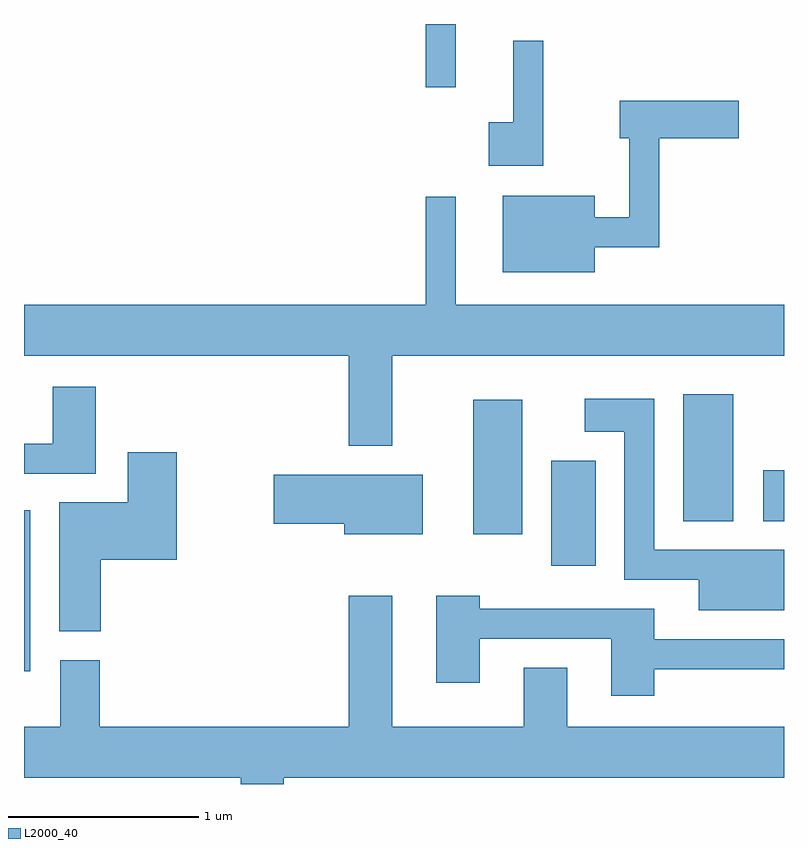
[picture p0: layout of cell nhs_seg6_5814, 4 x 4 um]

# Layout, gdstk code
import gdstk
lib = gdstk.Library(unit=1e-6, precision=1e-09)
def R(c, l, rs):  # rectangles x0, y0, x1, y1
    for r in rs: c.add(gdstk.rectangle(r[:2], r[2:], *l))
def P(c, l, *ps):  # polygons
    for p in ps: c.add(gdstk.Polygon(p, *l))
L2000_40 = (2000, 40)

nhs_seg6_5814 = lib.new_cell('nhs_seg6_5814')
R(nhs_seg6_5814, L2000_40, [(361.611,1612.756,361.644,1613.604), (364.386,1613.311,364.619,1613.864), (363.976,1613.476,364.234,1614.184), (365.081,1613.546,365.344,1614.214), (365.501,1613.546,365.611,1613.814), (363.726,1615.828,363.884,1616.162)])
P(nhs_seg6_5814, L2000_40, [(364.344,1616.073),(364.186,1616.073),(364.186,1615.644),(364.056,1615.644),(364.056,1615.416),(364.344,1615.416)],
  [(364.614,1614.986),(364.954,1614.986),(364.954,1615.561),(365.374,1615.561),(365.374,1615.759),(364.746,1615.759),(364.746,1615.561),(364.796,1615.561),(364.796,1615.144),(364.614,1615.144),(364.614,1615.259),(364.131,1615.259),(364.131,1614.856),(364.614,1614.856)],
  [(363.549,1614.416),(365.611,1614.416),(365.611,1614.684),(363.884,1614.684),(363.884,1615.253),(363.726,1615.253),(363.726,1614.684),(361.611,1614.684),(361.611,1614.416),(363.321,1614.416),(363.321,1613.941),(363.549,1613.941)],
  [(361.989,1614.254),(361.761,1614.254),(361.761,1613.954),(361.611,1613.954),(361.611,1613.796),(361.989,1613.796)],
  [(365.611,1613.394),(364.929,1613.394),(364.929,1614.189),(364.561,1614.189),(364.561,1614.016),(364.771,1614.016),(364.771,1613.236),(365.161,1613.236),(365.161,1613.076),(365.611,1613.076)],
  [(362.014,1613.341),(362.414,1613.341),(362.414,1613.909),(362.156,1613.909),(362.156,1613.644),(361.796,1613.644),(361.796,1612.966),(362.014,1612.966)],
  [(363.709,1613.789),(362.926,1613.789),(362.926,1613.531),(363.296,1613.531),(363.296,1613.476),(363.709,1613.476)],
  [(364.929,1612.766),(365.611,1612.766),(365.611,1612.924),(364.929,1612.924),(364.929,1613.084),(364.009,1613.084),(364.009,1613.154),(363.781,1613.154),(363.781,1612.696),(364.009,1612.696),(364.009,1612.926),(364.701,1612.926),(364.701,1612.626),(364.929,1612.626)],
  [(362.979,1612.196),(365.611,1612.196),(365.611,1612.464),(364.469,1612.464),(364.469,1612.774),(364.241,1612.774),(364.241,1612.464),(363.549,1612.464),(363.549,1613.154),(363.321,1613.154),(363.321,1612.464),(362.009,1612.464),(362.009,1612.814),(361.801,1612.814),(361.801,1612.464),(361.611,1612.464),(361.611,1612.196),(362.751,1612.196),(362.751,1612.162),(362.979,1612.162)])

lib.write_gds('nhs_seg6_5814.gds')
